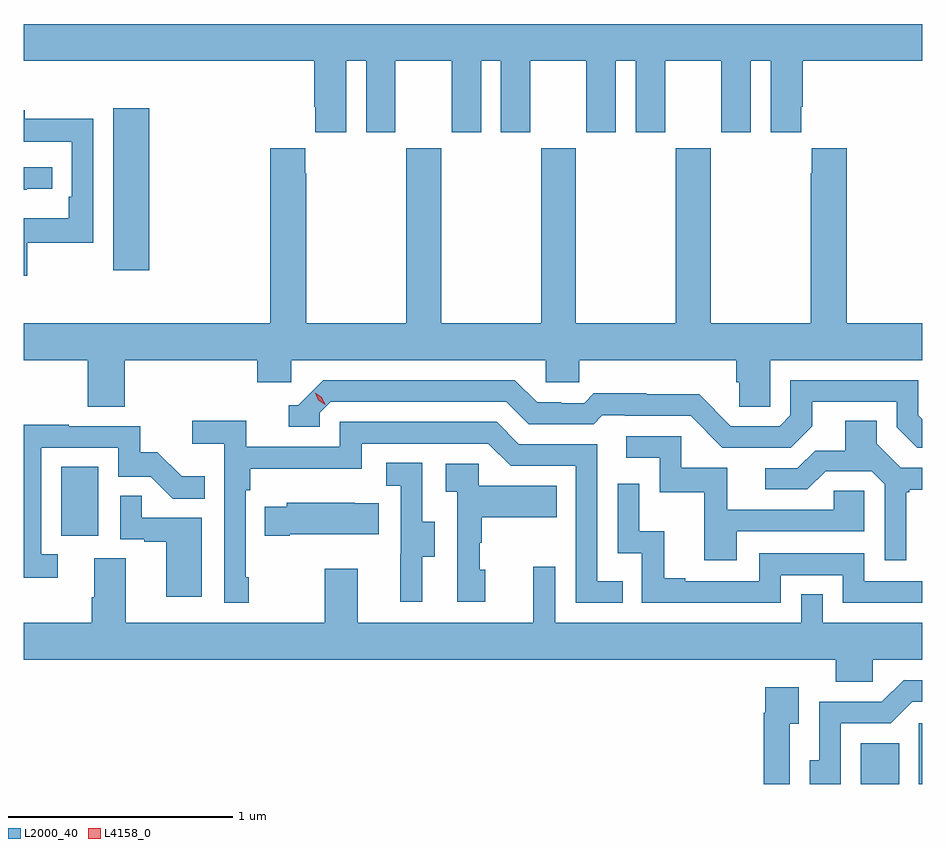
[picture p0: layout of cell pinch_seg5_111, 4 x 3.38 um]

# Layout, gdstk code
import gdstk
lib = gdstk.Library(unit=1e-6, precision=1e-09)
def R(c, l, rs):  # rectangles x0, y0, x1, y1
    for r in rs: c.add(gdstk.rectangle(r[:2], r[2:], *l))
def P(c, l, *ps):  # polygons
    for p in ps: c.add(gdstk.Polygon(p, *l))
L2000_40 = (2000, 40)
L4158_0 = (4158, 0)

pinch_seg5_111 = lib.new_cell('pinch_seg5_111')
R(pinch_seg5_111, L2000_40, [(1049.552,880.182,1049.722,880.363), (1049.81,880.182,1049.826,880.453), (1045.994,881.286,1046.158,881.593), (1046.225,882.468,1046.386,883.189)])
P(pinch_seg5_111, L2000_40, [(1047.262,883.4),(1047.35,883.4),(1047.35,883.083),(1047.481,883.083),(1047.481,883.4),(1047.731,883.4),(1047.731,883.083),(1047.862,883.083),(1047.862,883.4),(1047.95,883.4),(1047.95,883.083),(1048.081,883.083),(1048.081,883.4),(1048.331,883.4),(1048.331,883.083),(1048.462,883.083),(1048.462,883.4),(1048.55,883.4),(1048.55,883.083),(1048.681,883.083),(1048.681,883.4),(1048.931,883.4),(1048.931,883.083),(1049.062,883.083),(1049.062,883.4),(1049.15,883.4),(1049.15,883.083),(1049.287,883.083),(1049.287,883.195),(1049.294,883.195),(1049.294,883.4),(1049.826,883.4),(1049.826,883.564),(1045.826,883.564),(1045.826,883.4),(1047.119,883.4),(1047.119,883.195),(1047.125,883.195),(1047.125,883.083),(1047.262,883.083)],
  [(1045.843,882.591),(1046.136,882.591),(1046.136,883.142),(1045.831,883.142),(1045.831,883.18),(1045.826,883.18),(1045.826,883.041),(1046.04,883.041),(1046.04,882.796),(1046.027,882.796),(1046.027,882.7),(1045.826,882.7),(1045.826,882.444),(1045.843,882.444)],
  [(1046.276,882.068),(1046.867,882.068),(1046.867,881.97),(1047.018,881.97),(1047.018,882.068),(1048.149,882.068),(1048.149,881.97),(1048.299,881.97),(1048.299,882.068),(1048.997,882.068),(1048.997,881.97),(1049.011,881.97),(1049.011,881.86),(1049.148,881.86),(1049.148,882.068),(1049.826,882.068),(1049.826,882.232),(1049.489,882.232),(1049.489,883.012),(1049.333,883.012),(1049.333,882.899),(1049.329,882.899),(1049.329,882.232),(1048.884,882.232),(1048.884,883.012),(1048.729,883.012),(1048.729,882.232),(1048.284,882.232),(1048.284,883.012),(1048.129,883.012),(1048.129,882.232),(1047.684,882.232),(1047.684,883.012),(1047.529,883.012),(1047.529,882.232),(1047.084,882.232),(1047.084,882.899),(1047.079,882.899),(1047.079,883.012),(1046.924,883.012),(1046.924,882.232),(1045.826,882.232),(1045.826,882.068),(1046.111,882.068),(1046.111,881.86),(1046.276,881.86)],
  [(1045.841,882.831),(1045.954,882.831),(1045.954,882.927),(1045.826,882.927),(1045.826,882.826),(1045.841,882.826)],
  [(1049.335,881.773),(1049.335,881.883),(1049.712,881.883),(1049.712,881.769),(1049.802,881.679),(1049.826,881.679),(1049.826,881.805),(1049.808,881.823),(1049.808,881.979),(1049.238,881.979),(1049.238,881.823),(1049.19,881.775),(1048.974,881.775),(1048.832,881.917),(1048.596,881.917),(1048.596,881.92),(1048.363,881.92),(1048.321,881.877),(1048.218,881.877),(1048.218,881.88),(1048.111,881.88),(1048.012,881.979),(1047.159,881.979),(1047.048,881.868),(1047.005,881.868),(1047.005,881.772),(1047.144,881.772),(1047.144,881.835),(1047.192,881.883),(1047.975,881.883),(1048.074,881.784),(1048.363,881.784),(1048.402,881.823),(1048.501,881.823),(1048.501,881.82),(1048.794,881.82),(1048.935,881.679),(1049.241,881.679)],
  [(1046.827,881.101),(1046.814,881.101),(1046.814,881.489),(1046.834,881.489),(1046.834,881.585),(1047.33,881.585),(1047.33,881.697),(1047.894,881.697),(1047.993,881.598),(1048.284,881.598),(1048.284,880.989),(1048.493,880.989),(1048.493,881.085),(1048.38,881.085),(1048.38,881.694),(1048.03,881.694),(1047.931,881.793),(1047.234,881.793),(1047.234,881.682),(1046.816,881.682),(1046.816,881.798),(1046.577,881.798),(1046.577,881.696),(1046.718,881.696),(1046.718,880.989),(1046.827,880.989)],
  [(1049.755,881.481),(1049.767,881.481),(1049.767,881.492),(1049.826,881.492),(1049.826,881.589),(1049.73,881.589),(1049.623,881.696),(1049.623,881.798),(1049.483,881.798),(1049.483,881.666),(1049.348,881.666),(1049.268,881.586),(1049.127,881.586),(1049.127,881.493),(1049.314,881.493),(1049.395,881.574),(1049.601,881.574),(1049.658,881.517),(1049.658,881.178),(1049.755,881.178)],
  [(1045.978,881.205),(1045.905,881.205),(1045.905,881.679),(1046.247,881.679),(1046.247,881.55),(1046.391,881.55),(1046.489,881.452),(1046.633,881.452),(1046.633,881.551),(1046.529,881.551),(1046.422,881.658),(1046.346,881.658),(1046.346,881.775),(1046.027,881.775),(1046.027,881.78),(1045.826,881.78),(1045.826,881.1),(1045.978,881.1)],
  [(1048.999,881.307),(1049.568,881.307),(1049.568,881.487),(1049.431,881.487),(1049.431,881.403),(1048.957,881.403),(1048.957,881.589),(1048.752,881.589),(1048.752,881.73),(1048.509,881.73),(1048.509,881.634),(1048.656,881.634),(1048.656,881.481),(1048.855,881.481),(1048.855,881.178),(1048.999,881.178)],
  [(1047.601,881.194),(1047.655,881.194),(1047.655,881.349),(1047.6,881.349),(1047.6,881.612),(1047.441,881.612),(1047.441,881.509),(1047.504,881.509),(1047.504,881.205),(1047.503,881.205),(1047.503,880.992),(1047.601,880.992)],
  [(1047.88,881.136),(1047.855,881.136),(1047.855,881.255),(1047.865,881.255),(1047.865,881.369),(1048.199,881.369),(1048.199,881.509),(1047.852,881.509),(1047.852,881.607),(1047.705,881.607),(1047.705,881.483),(1047.756,881.483),(1047.756,880.992),(1047.88,880.992)],
  [(1049.196,881.112),(1049.472,881.112),(1049.472,880.989),(1049.826,880.989),(1049.826,881.085),(1049.568,881.085),(1049.568,881.208),(1049.1,881.208),(1049.1,881.085),(1048.771,881.085),(1048.771,881.098),(1048.676,881.098),(1048.676,881.306),(1048.566,881.306),(1048.566,881.518),(1048.47,881.518),(1048.47,881.208),(1048.578,881.208),(1048.578,880.989),(1049.196,880.989)],
  [(1046.62,881.367),(1046.351,881.367),(1046.351,881.465),(1046.256,881.465),(1046.256,881.271),(1046.363,881.271),(1046.363,881.259),(1046.462,881.259),(1046.462,881.016),(1046.62,881.016)],
  [(1047.01,881.294),(1047.407,881.294),(1047.407,881.431),(1047.299,881.431),(1047.299,881.434),(1046.997,881.434),(1046.997,881.416),(1046.899,881.416),(1046.899,881.287),(1047.01,881.287)],
  [(1049.441,880.638),(1049.604,880.638),(1049.604,880.736),(1049.826,880.736),(1049.826,880.9),(1049.382,880.9),(1049.382,881.027),(1049.286,881.027),(1049.286,880.9),(1048.191,880.9),(1048.191,881.149),(1048.094,881.149),(1048.094,880.9),(1047.313,880.9),(1047.313,881.14),(1047.166,881.14),(1047.166,880.9),(1046.281,880.9),(1046.281,881.186),(1046.141,881.186),(1046.141,881.012),(1046.129,881.012),(1046.129,880.9),(1045.826,880.9),(1045.826,880.736),(1049.441,880.736)],
  [(1049.463,880.452),(1049.685,880.452),(1049.781,880.548),(1049.826,880.548),(1049.826,880.644),(1049.742,880.644),(1049.646,880.548),(1049.366,880.548),(1049.366,880.288),(1049.324,880.288),(1049.324,880.182),(1049.463,880.182)],
  [(1049.235,880.451),(1049.275,880.451),(1049.275,880.612),(1049.127,880.612),(1049.127,880.499),(1049.119,880.499),(1049.119,880.182),(1049.235,880.182)])
P(pinch_seg5_111, L4158_0, [(1047.169,881.87),(1047.138,881.89),(1047.123,881.923),(1047.123,881.923),(1047.123,881.923),(1047.154,881.903),(1047.169,881.871),(1047.169,881.87)])

lib.write_gds('pinch_seg5_111.gds')
